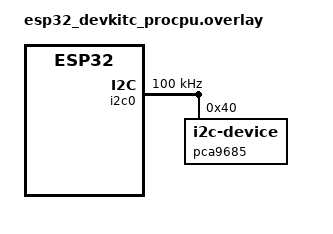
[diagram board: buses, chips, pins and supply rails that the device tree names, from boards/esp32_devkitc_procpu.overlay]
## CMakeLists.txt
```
cmake_minimum_required(VERSION 3.20.0)
find_package(Zephyr REQUIRED HINTS $ENV{ZEPHYR_BASE})
project(hexapod)

target_sources(app PRIVATE 
  src/main.c 
  src/pca9685.c
  src/rpcserver.c 
  src/rpc_async.c
  src/rpc_tcp_bridge.c 
  src/wifi.c)

 if(EXISTS ${CMAKE_CURRENT_SOURCE_DIR}/wifi.conf)
  set(EXTRA_CONF_FILE ${CMAKE_CURRENT_SOURCE_DIR}/wifi.conf)
endif()
```

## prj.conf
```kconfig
# =========================
# Console / Serial
# =========================
CONFIG_SERIAL=y
CONFIG_CONSOLE=y
CONFIG_UART_CONSOLE=y

# =========================
# GPIO / I2C / PWM
# =========================
CONFIG_GPIO=y
CONFIG_I2C=y
CONFIG_PWM=y
# CONFIG_PWM_PCA9685=y  # Commented out - needs device tree support

# =========================
# Logging
# =========================
CONFIG_LOG=y
CONFIG_LOG_DEFAULT_LEVEL=3
CONFIG_LOG_BUFFER_SIZE=2048
CONFIG_WIFI_LOG_LEVEL_DBG=y
CONFIG_NET_CONFIG_LOG_LEVEL_DBG=y

# =========================
# Networking
# =========================
CONFIG_NETWORKING=y
CONFIG_NET_IPV4=y
CONFIG_NET_UDP=y
CONFIG_NET_TCP=y
CONFIG_NET_SOCKETS=y
CONFIG_NET_MGMT=y
CONFIG_NET_DHCPV4=y
CONFIG_DNS_RESOLVER=y
CONFIG_NET_CONFIG_INIT_TIMEOUT=10
CONFIG_NET_LOG=y
CONFIG_NET_CONFIG_AUTO_INIT=n

# =========================
# WiFi (ESP32)
# =========================
CONFIG_WIFI=y
CONFIG_NET_L2_WIFI_MGMT=y
CONFIG_WIFI_INIT_PRIORITY=80
# ESP32 WiFi specific
CONFIG_ESP32_WIFI_STA_AUTO_DHCPV4=y
CONFIG_ESP_WIFI_HEAP_SYSTEM=y

# Network Connection Manager
CONFIG_NET_CONNECTION_MANAGER=y
CONFIG_NET_CONFIG_SETTINGS=y

# Network stack sizes
CONFIG_NET_TX_STACK_SIZE=2048
CONFIG_NET_RX_STACK_SIZE=2048
CONFIG_NET_PKT_RX_COUNT=10
CONFIG_NET_PKT_TX_COUNT=10
CONFIG_NET_BUF_RX_COUNT=20
CONFIG_NET_BUF_TX_COUNT=20
CONFIG_NET_MAX_CONTEXTS=10
CONFIG_NET_L2_ETHERNET=y

# Heap size for WiFi
CONFIG_HEAP_MEM_POOL_SIZE=51200

# Main stack size (increase if needed)
CONFIG_MAIN_STACK_SIZE=4096
```

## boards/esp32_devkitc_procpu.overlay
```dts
&pinctrl {
    i2c0_default: i2c0_default {
        group1 {
            pinmux = <I2C0_SDA_GPIO21>,
                     <I2C0_SCL_GPIO22>;
            bias-pull-up;
        };
    };
};

&i2c0 {
    status = "okay";
    clock-frequency = <I2C_BITRATE_STANDARD>;

    pca9685: pca9685@40 {
        compatible = "i2c-device";
        reg = <0x40>;
        status = "okay";
    };
};
```

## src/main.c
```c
#include <zephyr/kernel.h>
#include <zephyr/logging/log.h>
#include <zephyr/drivers/i2c.h>
#include <zephyr/init.h>

#include "rpcserver.h"
#include "rpc.h"
#include <zephyr/net/net_if.h>
#include <zephyr/net/net_ip.h>
#include <zephyr/logging/log.h>
#include <zephyr/net/net_if.h>
#include <zephyr/net/wifi_mgmt.h>
#include <zephyr/net/net_mgmt.h>
#include "wifi_secrets.h"
#include <zephyr/net/dhcpv4.h>
#include <zephyr/net/socket.h>

#include "wifi.h"


#define SERVO_MIN  102   // ~0.5 ms
#define SERVO_MID  307   // ~1.5 ms
#define SERVO_MAX  512   // ~2.5 ms

#define MODE1    0x00
#define MODE2    0x01
#define PRESCALE 0xFE
#define PCA9685_ADDR 0x40

extern int pca9685_init(void);
extern void pca9685_set_pwm(uint8_t, uint16_t, uint16_t);

LOG_MODULE_REGISTER(hexapod, LOG_LEVEL_INF);


static int rpc_sys_init(void)
{
    return rpc_server_init();
}

void print_addrinfo(struct zsock_addrinfo **results)
{
    char ipv4[INET_ADDRSTRLEN];
    char ipv6[INET6_ADDRSTRLEN];
    struct sockaddr_in *sa;
    struct sockaddr_in6 *sa6;
    struct zsock_addrinfo *rp;

    // Iterate through the results
    for (rp = *results; rp != NULL; rp = rp->ai_next) {

        // Print IPv4 address
        if (rp->ai_addr->sa_family == AF_INET) {
            sa = (struct sockaddr_in *)rp->ai_addr;
            zsock_inet_ntop(AF_INET, &sa->sin_addr, ipv4, INET_ADDRSTRLEN);
            printk("IPv4: %s\r\n", ipv4);
        }

        // Print IPv6 address
        if (rp->ai_addr->sa_family == AF_INET6) {
            sa6 = (struct sockaddr_in6 *)rp->ai_addr;
            zsock_inet_ntop(AF_INET6, &sa6->sin6_addr, ipv6, INET6_ADDRSTRLEN);
            printk("IPv6: %s\r\n", ipv6);
        }
    }
}
int main(void)
{
    printk("Starting Hexapod RPC Server\r\n");
    printk("Initializing WiFi...\r\n");
    wifi_init();
    
    // Optional: scan first to verify AP is visible
    wifi_scan();
    k_sleep(K_SECONDS(10));
    printk("Connecting to WiFi SSID: %s\r\n", WIFI_SSID);
    int ret = wifi_connect(WIFI_SSID, WIFI_PSK);
    printk("WiFi connect returned: %d\r\n", ret);
    
    if (ret < 0) {
        printk("Error (%d): WiFi connection failed\r\n", ret);
        printk("Check: 1) SSID correct? 2) Password correct? 3) 2.4GHz network?\r\n");
        // Don't return, keep running for debug
    } else {
        printk("WiFi connected, wait for IP address\r\n");
        wifi_wait_for_ip_addr();
        printk("IP address obtained\r\n");
    }
    
    while(1) {
        k_sleep(K_SECONDS(10));
    }
    
    return 0;
}

SYS_INIT(rpc_sys_init, APPLICATION, 90);
SYS_INIT(pca9685_init, APPLICATION, 91);
```

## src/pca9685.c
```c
#include <zephyr/kernel.h>
#include <zephyr/device.h>
#include <zephyr/drivers/i2c.h>
#include <zephyr/logging/log.h>

#define PCA9685_ADDR 0x40

#define PRESCALE   0xFE
#define LED0_ON_L  0x06

#define SERVO_MIN  102   // ~0.5 ms
#define SERVO_MID  307   // ~1.5 ms
#define SERVO_MAX  512   // ~2.5 ms

#define MODE1    0x00
#define MODE2    0x01
#define PRESCALE 0xFE
#define PCA9685_ADDR 0x40
#define PCA_NODE DT_NODELABEL(pca9685)

static const struct device *i2c_dev;
LOG_MODULE_DECLARE(hexapod);

int pca9685_init(void)
{
    i2c_dev = DEVICE_DT_GET(DT_BUS(PCA_NODE));

    if (!device_is_ready(i2c_dev)) {
        return -ENODEV;
    }
    uint8_t who = 0;
    i2c_write_read(i2c_dev, PCA9685_ADDR, (uint8_t[]){MODE1}, 1, &who, 1);
    LOG_INF("MODE1 = 0x%02x", who);

    uint8_t buf[2];

    /* MODE1 reset */
    buf[0] = MODE1;
    buf[1] = 0x00;
    i2c_write(i2c_dev, buf, 2, PCA9685_ADDR);
    k_sleep(K_MSEC(10));

    /* MODE2: totem pole */
    buf[0] = MODE2;
    buf[1] = 0x04; // OUTDRV
    i2c_write(i2c_dev, buf, 2, PCA9685_ADDR);

    /* sleep */
    buf[0] = MODE1;
    buf[1] = 0x10;
    i2c_write(i2c_dev, buf, 2, PCA9685_ADDR);

    /* prescale 50Hz */
    buf[0] = PRESCALE;
    buf[1] = 121;
    i2c_write(i2c_dev, buf, 2, PCA9685_ADDR);

    /* wake + auto increment */
    buf[0] = MODE1;
    buf[1] = 0x20;   // AI = 1
    i2c_write(i2c_dev, buf, 2, PCA9685_ADDR);
    k_sleep(K_MSEC(1));

    /* restart + auto increment */
    buf[0] = MODE1;
    buf[1] = 0xA0;   // RESTART(0x80) | AI(0x20)
    i2c_write(i2c_dev, buf, 2, PCA9685_ADDR);


    return 0;
}
void pca9685_set_pwm(uint8_t channel, uint16_t on, uint16_t off)
{
    uint8_t buf[5];

    buf[0] = LED0_ON_L + 4 * channel;
    buf[1] = on & 0xFF;
    buf[2] = on >> 8;
    buf[3] = off & 0xFF;
    buf[4] = off >> 8;

    int ret = i2c_write(i2c_dev, buf, 5, PCA9685_ADDR);
    if (ret) {
        LOG_ERR("i2c_write failed: %d", ret);
    }
}
```

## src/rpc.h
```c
#pragma once
#include <zephyr/kernel.h>
#include <zephyr/sys/atomic.h>
#include <stdint.h>

#define RPC_MAX_PAYLOAD   32
#define RPC_QUEUE_DEPTH   8
#define RPC_MAX_PENDING   8   /* max parallel async calls */

/* Methods */
typedef enum {
    RPC_PING = 1,
    RPC_ADD  = 2,
} rpc_method_t;

/* Status */
typedef enum {
    RPC_OK = 0,
    RPC_ERR_UNKNOWN_METHOD = -1,
    RPC_ERR_BAD_ARGS       = -2,
} rpc_status_t;

/* Message */
struct rpc_msg {
    uint32_t id;
    uint16_t method;
    int16_t  status;
    uint16_t len;
    uint8_t  payload[RPC_MAX_PAYLOAD];
};

/* IPC queues */
extern struct k_msgq rpc_req_q;
extern struct k_msgq rpc_res_q;

/* ===== Async client API ===== */
typedef void (*rpc_cb_t)(uint32_t id,
                         uint16_t method,
                         int16_t status,
                         const uint8_t *payload,
                         uint16_t len,
                         void *user);

/* fire & forget call (response triggers callback) */
int rpc_async_call(uint16_t method,
                   const void *payload, uint16_t len,
                   rpc_cb_t cb, void *user);
```

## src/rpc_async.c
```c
#include "rpc.h"
#include <string.h>

static atomic_t rpc_id_counter = ATOMIC_INIT(1);

struct pending_call {
    bool used;
    uint32_t id;
    uint16_t method;
    rpc_cb_t cb;
    void *user;
};

static struct pending_call pending[RPC_MAX_PENDING];
static struct k_mutex pending_lock;

static struct pending_call *pending_alloc(uint32_t id, uint16_t method,
                                          rpc_cb_t cb, void *user)
{
    k_mutex_lock(&pending_lock, K_FOREVER);
    for (int i = 0; i < RPC_MAX_PENDING; i++) {
        if (!pending[i].used) {
            pending[i].used = true;
            pending[i].id = id;
            pending[i].method = method;
            pending[i].cb = cb;
            pending[i].user = user;
            k_mutex_unlock(&pending_lock);
            return &pending[i];
        }
    }
    k_mutex_unlock(&pending_lock);
    return NULL;
}

static struct pending_call *pending_take(uint32_t id)
{
    struct pending_call *out = NULL;

    k_mutex_lock(&pending_lock, K_FOREVER);
    for (int i = 0; i < RPC_MAX_PENDING; i++) {
        if (pending[i].used && pending[i].id == id) {
            out = &pending[i];
            break;
        }
    }
    k_mutex_unlock(&pending_lock);
    return out;
}

static void pending_free(struct pending_call *p)
{
    k_mutex_lock(&pending_lock, K_FOREVER);
    p->used = false;
    k_mutex_unlock(&pending_lock);
}

int rpc_async_call(uint16_t method,
                   const void *payload, uint16_t len,
                   rpc_cb_t cb, void *user)
{
    if (len > RPC_MAX_PAYLOAD) return -EINVAL;
    if (cb == NULL) return -EINVAL;

    struct rpc_msg msg = {0};
    msg.id = (uint32_t)atomic_inc(&rpc_id_counter);
    msg.method = method;
    msg.status = 0;
    msg.len = len;

    if (len && payload) {
        memcpy(msg.payload, payload, len);
    }

    if (!pending_alloc(msg.id, method, cb, user)) {
        return -ENOMEM;
    }

    int rc = k_msgq_put(&rpc_req_q, &msg, K_NO_WAIT);
    if (rc != 0) {
        /* rollback pending allocation */
        struct pending_call *p = pending_take(msg.id);
        if (p) pending_free(p);
        return -EAGAIN;
    }

    return 0;
}

/* RX thread: takes responses and triggers callbacks */
static void rpc_client_rx_thread(void)
{
    while (1) {
        struct rpc_msg reply;
        k_msgq_get(&rpc_res_q, &reply, K_FOREVER);

        struct pending_call *p = pending_take(reply.id);
        if (!p) {
            /* unknown/late reply -> ignore */
            continue;
        }

        rpc_cb_t cb = p->cb;
        void *user = p->user;
        uint16_t method = p->method;

        pending_free(p);

        /* call user callback */
        cb(reply.id, method, reply.status, reply.payload, reply.len, user);
    }
}

K_THREAD_DEFINE(rpc_client_rx_tid, 2048,
                rpc_client_rx_thread, NULL, NULL, NULL,
                6, 0, 0);
```

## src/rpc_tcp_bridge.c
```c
#include <zephyr/kernel.h>
#include <zephyr/logging/log.h>
#include <zephyr/net/socket.h>
#include <zephyr/sys/byteorder.h>
#include <string.h>

#include "rpc.h"

LOG_MODULE_DECLARE(hexapod);


#define RPC_TCP_PORT 5555

static int recv_all(int fd, void *buf, size_t len)
{
    uint8_t *p = buf;

    while (len > 0) {
        ssize_t r = zsock_recv(fd, p, len, 0);
        if (r <= 0) {
            return -1;
        }
        p += r;
        len -= r;
    }
    return 0;
}

static int send_all(int fd, const void *buf, size_t len)
{
    const uint8_t *p = buf;

    while (len > 0) {
        ssize_t w = zsock_send(fd, p, len, 0);
        if (w <= 0) {
            return -1;
        }
        p += w;
        len -= w;
    }
    return 0;
}

static int tcp_recv_frame(int fd, uint8_t *buf, size_t max, size_t *out_len)
{
    uint16_t be_len;

    if (recv_all(fd, &be_len, sizeof(be_len)) != 0) {
        return -1;
    }

    uint16_t len = sys_be16_to_cpu(be_len);
    if (len > max) {
        return -2;
    }

    if (recv_all(fd, buf, len) != 0) {
        return -1;
    }

    *out_len = len;
    return 0;
}

static int tcp_send_frame(int fd, const uint8_t *buf, size_t len)
{
    uint16_t be_len = sys_cpu_to_be16((uint16_t)len);

    if (send_all(fd, &be_len, sizeof(be_len)) != 0) {
        return -1;
    }
    if (send_all(fd, buf, len) != 0) {
        return -1;
    }
    return 0;
}

static void rpc_tcp_bridge_thread(void)
{
  

      int srv = -1;

    while (srv < 0) {
        srv = zsock_socket(AF_INET, SOCK_STREAM, IPPROTO_TCP);
        if (srv < 0) {
            LOG_ERR("zsock_socket() failed, retry in 1s");
            k_sleep(K_SECONDS(1));
        }
    }

    int opt = 1;
    zsock_setsockopt(srv, SOL_SOCKET, SO_REUSEADDR, &opt, sizeof(opt));

    struct sockaddr_in addr = {
        .sin_family = AF_INET,
        .sin_port = htons(RPC_TCP_PORT),
        .sin_addr.s_addr = INADDR_ANY
    };

    if (zsock_bind(srv, (struct sockaddr *)&addr, sizeof(addr)) < 0) {
        LOG_ERR("zsock_bind() failed");
        zsock_close(srv);
        return;
    }

    if (zsock_listen(srv, 1) < 0) {
        LOG_ERR("zsock_listen() failed");
        zsock_close(srv);
        return;
    }

    LOG_INF("RPC TCP bridge listening on port %d", RPC_TCP_PORT);

    while (1) {
        int client = zsock_accept(srv, NULL, NULL);
        if (client < 0) {
            k_sleep(K_MSEC(200));
            continue;
        }

        LOG_INF("client connected");

        while (1) {
            uint8_t rx[sizeof(struct rpc_msg)];
            size_t rx_len = 0;

            int rc = tcp_recv_frame(client, rx, sizeof(rx), &rx_len);
            if (rc != 0) {
                LOG_INF("client disconnected rc=%d", rc);
                break;
            }

            if (rx_len != sizeof(struct rpc_msg)) {
                LOG_WRN("bad frame size %d", (int)rx_len);
                break;
            }

            struct rpc_msg req;
            memcpy(&req, rx, sizeof(req));

            LOG_INF("rpc req id=%u method=%u len=%u",
                    req.id, req.method, req.len);

            /* Send into IPC RPC server */
            rc = k_msgq_put(&rpc_req_q, &req, K_MSEC(200));
            if (rc != 0) {
                LOG_WRN("rpc_req_q full");
                break;
            }

            /* Wait for response */
            struct rpc_msg res;
            rc = k_msgq_get(&rpc_res_q, &res, K_MSEC(500));
            if (rc != 0) {
                LOG_WRN("rpc response timeout");
                break;
            }

            /* Return response */
            uint8_t tx[sizeof(struct rpc_msg)];
            memcpy(tx, &res, sizeof(res));

            rc = tcp_send_frame(client, tx, sizeof(tx));
            if (rc != 0) {
                LOG_WRN("send failed");
                break;
            }
        }

        zsock_close(client);
    }
}

K_THREAD_DEFINE(rpc_tcp_tid, 4096, rpc_tcp_bridge_thread,
                NULL, NULL, NULL, 4, 0, 0);
```

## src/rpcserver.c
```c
#include "rpc.h"
#include <string.h>

K_MSGQ_DEFINE(rpc_req_q, sizeof(struct rpc_msg), RPC_QUEUE_DEPTH, 4);
K_MSGQ_DEFINE(rpc_res_q, sizeof(struct rpc_msg), RPC_QUEUE_DEPTH, 4);

static void rpc_dispatch(const struct rpc_msg *req, struct rpc_msg *res)
{
    res->id     = req->id;
    res->method = req->method;
    res->status = RPC_OK;
    res->len    = 0;

    switch (req->method) {
    case RPC_PING: {
        /* no args */
        const uint32_t pong = 0xBEEFCAFE;
        res->len = sizeof(pong);
        memcpy(res->payload, &pong, sizeof(pong));
        break;
    }

    case RPC_ADD: {
        /* expects 2x int32: a,b -> returns int32 sum */
        if (req->len != 8) {
            res->status = RPC_ERR_BAD_ARGS;
            break;
        }

        int32_t a, b;
        memcpy(&a, &req->payload[0], 4);
        memcpy(&b, &req->payload[4], 4);

        int32_t sum = a + b;
        res->len = sizeof(sum);
        memcpy(res->payload, &sum, sizeof(sum));
        break;
    }

    default:
        res->status = RPC_ERR_UNKNOWN_METHOD;
        break;
    }
}

static void rpc_server_thread(void)
{
    struct rpc_msg req;
    struct rpc_msg res;

    while (1) {
        k_msgq_get(&rpc_req_q, &req, K_FOREVER);
        rpc_dispatch(&req, &res);
        k_msgq_put(&rpc_res_q, &res, K_FOREVER);
    }
}

int rpc_server_init(void)
{
    /* Server thread is started via K_THREAD_DEFINE already */
    return 0;
}

K_THREAD_DEFINE(rpc_srv_tid, 2048, rpc_server_thread, NULL, NULL, NULL, 5, 0, 0);
```

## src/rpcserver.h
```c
/* rpcserver.h */
#pragma once

int rpc_server_init(void);
```

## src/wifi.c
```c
#include <string.h>
#include <zephyr/kernel.h>
#include <zephyr/net/wifi_mgmt.h>
#include "wifi.h"
#include <zephyr/net/net_compat.h>

// Event callbacks
static struct net_mgmt_event_callback wifi_cb;
static struct net_mgmt_event_callback ipv4_cb;

// Semaphores
static K_SEM_DEFINE(sem_wifi, 0, 1);
static K_SEM_DEFINE(sem_ipv4, 0, 1);
LOG_MODULE_DECLARE(hexapod);

// Called when the WiFi is connected
static void on_wifi_connection_event(struct net_mgmt_event_callback *cb,
                                     uint64_t mgmt_event,
                                     struct net_if *iface)
{
    printk("on_wifi_connection_event: event %llu\n", mgmt_event);
    const struct wifi_status *status = (const struct wifi_status *)cb->info;

    if (mgmt_event == NET_EVENT_WIFI_CONNECT_RESULT) {
        if (status->status) {
            printk("Error (%d): Connection request failed\r\n", status->status);
        } else {
            printk("Connected!\r\n");
            k_sem_give(&sem_wifi);
        }
    } else if (mgmt_event == NET_EVENT_WIFI_DISCONNECT_RESULT) {
        if (status->status) {
            printk("Error (%d): Disconnection request failed\r\n", status->status);
        } else {
            printk("Disconnected\r\n");
            k_sem_take(&sem_wifi, K_NO_WAIT);
        }
    }
}
void wifi_scan(void)
{
    struct net_if *iface = net_if_get_default();
    
    LOG_INF("Starting WiFi scan...");
    if (net_mgmt(NET_REQUEST_WIFI_SCAN, iface, NULL, 0)) {
        LOG_ERR("Scan request failed");
        return;
    }
    
    LOG_INF("Scan started, results will appear in events");
    k_sleep(K_SECONDS(5)); // Wait for scan to complete
}
// Event handler for WiFi management events
static void on_ipv4_obtained(struct net_mgmt_event_callback *cb,
                             uint64_t mgmt_event,
                             struct net_if *iface)
{
    // Signal that the IP address has been obtained
    if (mgmt_event == NET_EVENT_IPV4_ADDR_ADD) {
        k_sem_give(&sem_ipv4);
    }
}

static void handle_wifi_scan_result(struct net_mgmt_event_callback *cb,
                                    long long unsigned int mgmt_event,
                                     struct net_if *iface)
{
    const struct wifi_scan_result *entry = (const struct wifi_scan_result *)cb->info;
    
    LOG_INF("Scan result: SSID=%-32s, Channel=%d, RSSI=%d, Security=%d",
            entry->ssid, entry->channel, entry->rssi, entry->security);
}

static void handle_wifi_scan_done(struct net_mgmt_event_callback *cb,
                                   long long unsigned int mgmt_event,
                                   struct net_if *iface)
{
    LOG_INF("WiFi scan completed");
}

static struct net_mgmt_event_callback wifi_scan_result_cb;
static struct net_mgmt_event_callback wifi_scan_done_cb;
// Initialize the WiFi event callbacks
void wifi_init(void)
{

    struct net_if *iface = net_if_get_default();
    if (!iface) {
        LOG_ERR("No default interface found");
        return;
    }

    // Set WiFi region/country code
    struct wifi_reg_domain reg_domain = {
        .country_code = "DE",.oper = 0
    };
    
    int ret = net_mgmt(NET_REQUEST_WIFI_REG_DOMAIN, iface,
                       &reg_domain, sizeof(reg_domain));
    if (ret) {
        LOG_WRN("Failed to set region: %d", ret);
    } else {
        LOG_INF("WiFi region set to: %s", reg_domain.country_code);
    }
    // Initialize the event callbacks
    net_mgmt_init_event_callback(&wifi_cb,
                                 on_wifi_connection_event,
                                 NET_EVENT_WIFI_CONNECT_RESULT | NET_EVENT_WIFI_DISCONNECT_RESULT);
    net_mgmt_init_event_callback(&ipv4_cb,
                                 on_ipv4_obtained,
                                 NET_EVENT_IPV4_DHCP_BOUND | NET_EVENT_IPV4_ADDR_ADD);
    
    net_mgmt_init_event_callback(&wifi_scan_result_cb,
                                 handle_wifi_scan_result,
                                 NET_EVENT_WIFI_SCAN_RESULT);
    
    net_mgmt_init_event_callback(&wifi_scan_done_cb,
                                 handle_wifi_scan_done,
                                 NET_EVENT_WIFI_SCAN_DONE);
    
    net_mgmt_add_event_callback(&wifi_scan_result_cb);
    net_mgmt_add_event_callback(&wifi_scan_done_cb);
    // Add the event callbacks
    net_mgmt_add_event_callback(&wifi_cb);
    net_mgmt_add_event_callback(&ipv4_cb);
}

int wifi_connect(const char *ssid, const char *psk)
{
    struct net_if *iface = net_if_get_default();
    struct wifi_connect_req_params params = {0};
    
    if (!iface) {
        LOG_ERR("No default interface");
        return -ENODEV;
    }

    // Set connection parameters
    params.ssid = (uint8_t *)ssid;
    params.ssid_length = strlen(ssid);
    params.psk = (uint8_t *)psk;
    params.psk_length = strlen(psk);
    params.channel = WIFI_CHANNEL_ANY;
    params.security = WIFI_SECURITY_TYPE_PSK; // or WIFI_SECURITY_TYPE_PSK_SHA256
    params.band = WIFI_FREQ_BAND_2_4_GHZ;
    params.mfp = WIFI_MFP_OPTIONAL;
    
    LOG_INF("Connecting to SSID: %s (len=%d)", ssid, params.ssid_length);
    
    return net_mgmt(NET_REQUEST_WIFI_CONNECT, iface,
                    &params, sizeof(struct wifi_connect_req_params));
}

// Wait for IP address (blocking)
void wifi_wait_for_ip_addr(void)
{
    struct wifi_iface_status status;
    struct net_if *iface;
    char ip_addr[NET_IPV4_ADDR_LEN];
    char gw_addr[NET_IPV4_ADDR_LEN];

    // Get interface
    iface = net_if_get_default();

    // Wait for the IPv4 address to be obtained
    k_sem_take(&sem_ipv4, K_FOREVER);

    // Get the WiFi status
    if (net_mgmt(NET_REQUEST_WIFI_IFACE_STATUS,
                 iface,
                 &status,
                 sizeof(struct wifi_iface_status))) {
        printk("Error: WiFi status request failed\r\n");
    }

    // Get the IP address
    memset(ip_addr, 0, sizeof(ip_addr));
    if (net_addr_ntop(AF_INET,
                      &iface->config.ip.ipv4->unicast[0].ipv4.address.in_addr,
                      ip_addr,
                      sizeof(ip_addr)) == NULL) {
        printk("Error: Could not convert IP address to string\r\n");
    }

    // Get the gateway address
    memset(gw_addr, 0, sizeof(gw_addr));
    if (net_addr_ntop(AF_INET,
                      &iface->config.ip.ipv4->gw,
                      gw_addr,
                      sizeof(gw_addr)) == NULL) {
        printk("Error: Could not convert gateway address to string\r\n");
    }

    // Print the WiFi status
    printk("WiFi status:\r\n");
    if (status.state >= WIFI_STATE_ASSOCIATED) {
        printk("  SSID: %-32s\r\n", status.ssid);
        printk("  Band: %s\r\n", wifi_band_txt(status.band));
        printk("  Channel: %d\r\n", status.channel);
        printk("  Security: %s\r\n", wifi_security_txt(status.security));
        printk("  IP address: %s\r\n", ip_addr);
        printk("  Gateway: %s\r\n", gw_addr);
    }
}

// Disconnect from the WiFi network
int wifi_disconnect(void)
{
    int ret;
    struct net_if *iface = net_if_get_default();

    ret = net_mgmt(NET_REQUEST_WIFI_DISCONNECT, iface, NULL, 0);

    return ret;
}
```

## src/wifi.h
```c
#pragma once

// Function prototypes
void wifi_init(void);
int wifi_connect(const char *ssid, const char *psk);
void wifi_wait_for_ip_addr(void);
int wifi_disconnect(void);
void wifi_scan(void);
```
